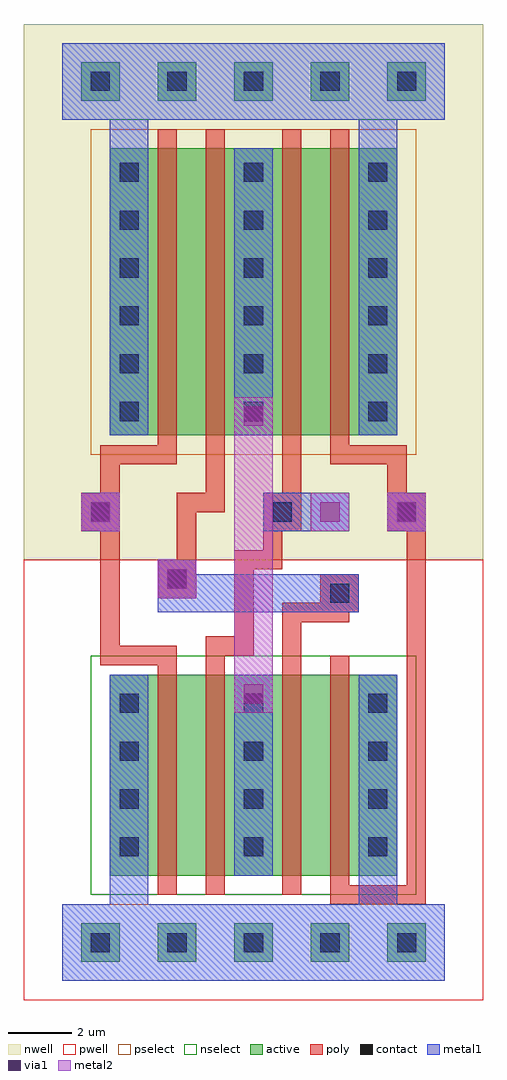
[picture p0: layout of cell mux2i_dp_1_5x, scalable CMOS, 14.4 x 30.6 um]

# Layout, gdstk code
import gdstk
lib = gdstk.Library(unit=1e-6, precision=1e-09)
def R(c, l, rs):  # rectangles x0, y0, x1, y1
    for r in rs: c.add(gdstk.rectangle(r[:2], r[2:], *l))
def A(c, l, x, y, w, h, nx, ny, dx, dy):  # array of equal rectangles
    R(c, l, [(x+i*dx, y+j*dy, x+i*dx+w, y+j*dy+h) for i in range(nx) for j in range(ny)])
contact = (25, 0)
pwell = (41, 0)
nwell = (42, 0)
active = (43, 0)
pselect = (44, 0)
nselect = (45, 0)
poly = (46, 0)
metal1 = (49, 0)
via1 = (50, 0)
metal2 = (51, 0)

mux2i_dp_1_5x = lib.new_cell('mux2i_dp_1_5x')
A(mux2i_dp_1_5x, contact, 0.3, -0.3, 0.6, 0.6, 5, 2, 2.4, 27)
A(mux2i_dp_1_5x, contact, 1.2, 2.7, 0.6, 0.6, 3, 4, 3.9, 1.5)
A(mux2i_dp_1_5x, contact, 1.2, 16.35, 0.6, 0.6, 3, 6, 3.9, 1.5)
R(mux2i_dp_1_5x, contact, [(7.8,10.65,8.4,11.25), (2.7,11.1,3.3,11.7), (0.3,13.2,0.9,13.8), (6,13.2,6.6,13.8), (9.9,13.2,10.5,13.8)])
A(mux2i_dp_1_5x, pwell, -0.9, -1.5, 3, 3, 5, 1, 2.4, 0)
A(mux2i_dp_1_5x, pwell, -0.9, 0.3, 4.8, 9.9, 3, 1, 3.9, 0)
R(mux2i_dp_1_5x, pwell, [(-1.8,-1.8,12.6,12), (-0.3,0.3,5.7,10.2), (1.2,0.3,7.2,10.2), (3.6,0.3,9.6,10.2), (5.1,0.3,11.1,10.2), (4.725,1.65,9.975,6.15), (3.075,1.95,7.65,6.45), (0.825,2.25,6.075,6.75), (3.15,2.25,7.725,6.75), (6.975,2.55,11.55,7.05), (-0.75,3.45,3.825,7.95)])
A(mux2i_dp_1_5x, nwell, -0.9, 14.1, 4.8, 12.6, 3, 1, 3.9, 0)
A(mux2i_dp_1_5x, nwell, -0.9, 25.5, 3, 3, 5, 1, 2.4, 0)
R(mux2i_dp_1_5x, nwell, [(-1.8,12,12.6,28.8), (-0.3,14.1,5.7,26.7), (1.2,14.1,7.2,26.7), (3.6,14.1,9.6,26.7), (5.1,14.1,11.1,26.7), (4.725,16.95,9.975,21.45), (3.15,17.55,7.725,22.05), (3.075,18.45,7.65,22.95), (6.975,18.75,11.55,23.25), (-0.75,19.95,3.825,24.45), (0.825,20.85,6.075,25.35)])
A(mux2i_dp_1_5x, active, 0, -0.6, 1.2, 1.2, 5, 2, 2.4, 27)
A(mux2i_dp_1_5x, active, 0.9, 2.1, 1.2, 6.3, 3, 1, 3.9, 0)
A(mux2i_dp_1_5x, active, 0.9, 15.9, 1.2, 9, 3, 1, 3.9, 0)
R(mux2i_dp_1_5x, active, [(1.5,2.1,3.9,8.4), (3,2.1,5.4,8.4), (5.4,2.1,7.8,8.4), (6.9,2.1,9.3,8.4), (6.525,3.45,8.175,4.35), (4.875,3.75,5.85,4.65), (2.625,4.05,4.275,4.95), (4.95,4.05,5.925,4.95), (8.775,4.35,9.75,5.25), (1.05,5.25,2.025,6.15), (1.5,15.9,3.9,24.9), (3,15.9,5.4,24.9), (5.4,15.9,7.8,24.9), (6.9,15.9,9.3,24.9), (6.525,18.75,8.175,19.65), (4.95,19.35,5.925,20.25), (4.875,20.25,5.85,21.15), (8.775,20.55,9.75,21.45), (1.05,21.75,2.025,22.65), (2.625,22.65,4.275,23.55)])
A(mux2i_dp_1_5x, pselect, -0.6, -1.2, 2.4, 2.4, 5, 1, 2.4, 0)
A(mux2i_dp_1_5x, pselect, 0.3, 15.3, 2.4, 10.2, 3, 1, 3.9, 0)
R(mux2i_dp_1_5x, pselect, [(0.9,15.3,4.5,25.5), (2.4,15.3,6,25.5), (4.8,15.3,8.4,25.5), (6.3,15.3,9.9,25.5), (5.925,18.15,8.775,20.25), (4.35,18.75,6.525,20.85), (4.275,19.65,6.45,21.75), (8.175,19.95,10.35,22.05), (0.45,21.15,2.625,23.25), (2.025,22.05,4.875,24.15)])
A(mux2i_dp_1_5x, nselect, 0.3, 1.5, 2.4, 7.5, 3, 1, 3.9, 0)
A(mux2i_dp_1_5x, nselect, -0.6, 25.8, 2.4, 2.4, 5, 1, 2.4, 0)
R(mux2i_dp_1_5x, nselect, [(0.9,1.5,4.5,9), (2.4,1.5,6,9), (4.8,1.5,8.4,9), (6.3,1.5,9.9,9), (5.925,2.85,8.775,4.95), (4.275,3.15,6.45,5.25), (2.025,3.45,4.875,5.55), (4.35,3.45,6.525,5.55), (8.175,3.75,10.35,5.85), (0.45,4.65,2.625,6.75)])
R(mux2i_dp_1_5x, poly, [(7.8,1.2,10.8,1.8), (10.2,1.2,10.8,13.8), (2.4,1.5,3,9), (3.9,1.5,4.5,9), (6.3,1.5,6.9,9), (7.8,1.5,8.4,9), (0.6,8.7,1.2,13.8), (0.6,8.7,3,9.3), (3.9,8.7,4.5,9.6), (6.3,8.7,6.9,10.65), (3.9,9,5.4,9.6), (4.8,9,5.4,12.3), (6.3,10.05,8.4,10.65), (7.8,10.05,8.4,11.4), (7.5,10.35,8.7,11.55), (2.4,10.8,3.6,12), (2.7,11.1,3.6,11.7), (2.7,11.1,3.3,11.7), (3,11.1,3.6,14.1), (4.8,11.7,6.3,12.3), (5.7,11.7,6.3,13.8), (0,12.9,1.2,14.1), (5.7,12.9,6.9,14.1), (9.6,12.9,10.8,14.1), (0.3,13.2,1.2,13.8), (0.6,13.2,1.2,15.6), (5.7,13.2,6.6,13.8), (6,13.2,6.9,13.8), (6.3,13.2,6.9,15.6), (9.6,13.2,10.2,15.6), (9.6,13.2,10.5,13.8), (9.9,13.2,10.8,13.8), (3,13.5,4.5,14.1), (3.9,13.5,4.5,15.6), (0.6,15,3,15.6), (7.8,15,10.2,15.6), (2.4,15.3,3,25.5), (3.9,15.3,4.5,25.5), (6.3,15.3,6.9,25.5), (7.8,15.3,8.4,25.5)])
A(mux2i_dp_1_5x, metal1, -0.6, -1.2, 4.8, 2.4, 3, 1, 2.4, 0)
A(mux2i_dp_1_5x, metal1, 0, -0.6, 1.2, 1.2, 5, 1, 2.4, 0)
A(mux2i_dp_1_5x, metal1, 0.9, 2.1, 1.2, 6.3, 3, 1, 3.9, 0)
A(mux2i_dp_1_5x, metal1, 0.9, 15.9, 1.2, 9, 3, 1, 3.9, 0)
A(mux2i_dp_1_5x, metal1, 0, 26.4, 1.2, 1.2, 4, 1, 2.4, 0)
R(mux2i_dp_1_5x, metal1, [(-0.6,-1.2,1.8,1.2), (-0.6,-1.2,2.7,1.2), (-0.6,-1.2,4.2,1.2), (6.6,-1.2,10.5,1.2), (8.1,-1.2,11.4,1.2), (0.9,-0.6,2.1,3.15), (8.7,-0.6,9.9,3.15), (4.95,4.65,5.85,8.1), (4.8,7.2,6,8.4), (2.4,10.35,8.7,11.55), (2.4,10.35,3.6,12), (7.5,10.35,8.7,11.55), (2.4,10.8,3.6,12), (2.4,10.8,3.6,12), (2.4,10.8,3.6,12), (0,12.9,1.2,14.1), (0,12.9,1.2,14.1), (5.7,12.9,6.9,14.1), (5.7,12.9,8.4,14.1), (7.2,12.9,8.4,14.1), (9.6,12.9,10.8,14.1), (9.6,12.9,10.8,14.1), (0.15,13.05,1.05,13.95), (9.75,13.05,10.65,13.95), (4.8,15.9,6,17.1), (4.95,16.05,5.85,16.95), (8.7,23.7,9.9,27.6), (0.9,23.85,2.1,27.6), (-0.6,25.8,2.7,28.2), (0.3,25.8,4.2,28.2), (1.8,25.8,9,28.2), (6.6,25.8,10.5,28.2), (8.1,25.8,11.4,28.2), (0,26.4,2.1,27.6), (4.8,26.4,8.4,27.6), (7.2,26.4,8.4,27.6), (9.6,26.4,10.8,27.6), (9.6,26.4,10.8,27.6)])
R(mux2i_dp_1_5x, via1, [(5.1,7.5,5.7,8.1), (2.7,11.1,3.3,11.7), (0.3,13.2,0.9,13.8), (7.5,13.2,8.1,13.8), (9.9,13.2,10.5,13.8), (5.1,16.2,5.7,16.8)])
R(mux2i_dp_1_5x, metal2, [(4.8,7.2,6,8.4), (4.8,7.2,6,11.1), (4.8,9.9,6,17.1), (2.4,10.8,3.6,12), (0,12.9,1.2,14.1), (7.2,12.9,8.4,14.1), (9.6,12.9,10.8,14.1), (4.8,15.9,6,17.1)])

lib.write_gds('mux2i_dp_1_5x.gds')
